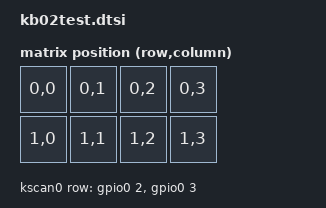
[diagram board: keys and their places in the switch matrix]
/*
 * kb02test — split 検証用（XIAO nRF52840 Plus ×2、各 2×2 仮マトリクス）
 * 左右共通部：kscan（行ピン）と matrix transform。列ピンは左右の overlay で指定。
 */

#include <dt-bindings/zmk/matrix_transform.h>

/ {
    chosen {
        zmk,kscan = &kscan0;
        zmk,matrix-transform = &default_transform;
    };

    // 左 2 列 ＋ 右 2 列 = 4 列 × 2 行。右 overlay で col-offset = <2> を足す
    default_transform: keymap_transform_0 {
        compatible = "zmk,matrix-transform";
        columns = <4>;
        rows = <2>;
        map = <
            RC(0,0) RC(0,1)   RC(0,2) RC(0,3)
            RC(1,0) RC(1,1)   RC(1,2) RC(1,3)
        >;
    };

    kscan0: kscan0 {
        compatible = "zmk,kscan-gpio-matrix";
        wakeup-source;
        diode-direction = "col2row";

        row-gpios
            = <&gpio0 2 (GPIO_ACTIVE_HIGH | GPIO_PULL_DOWN)>   /* ROW0 = D0 P0.02 */
            , <&gpio0 3 (GPIO_ACTIVE_HIGH | GPIO_PULL_DOWN)>   /* ROW1 = D1 P0.03 */
            ;
    };
};
